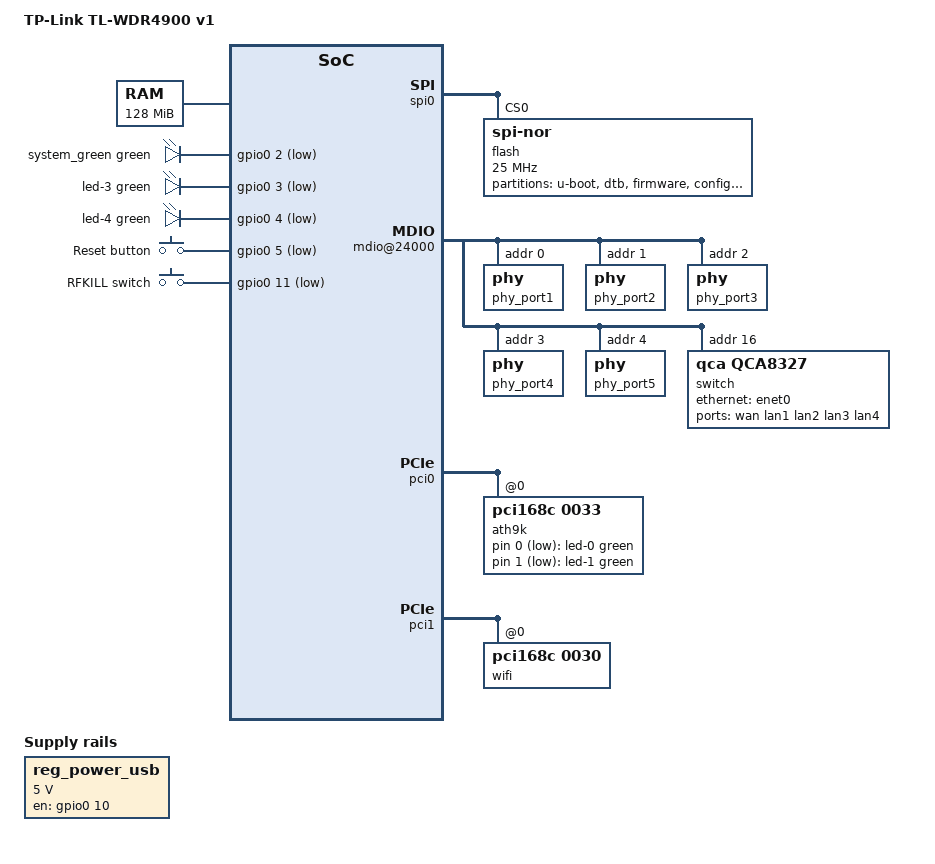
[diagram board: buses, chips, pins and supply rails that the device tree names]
/*
 * TP-Link TL-WDR4900 v1 Device Tree Source
 *
 * Copyright 2013 Gabor Juhos <juhosg@openwrt.org>
 *
 * This program is free software; you can redistribute  it and/or modify it
 * under  the terms of  the GNU General  Public License as published by the
 * Free Software Foundation;  either version 2 of the  License, or (at your
 * option) any later version.
 */

#include <dt-bindings/leds/common.h>
#include <dt-bindings/input/input.h>
#include <dt-bindings/gpio/gpio.h>

/include/ "fsl/p1010si-pre.dtsi"

/ {
	model = "TP-Link TL-WDR4900 v1";
	compatible = "tplink,tl-wdr4900-v1";

	chosen {
		bootargs = "console=ttyS0,115200";
/*
		stdout-path = "/soc@ffe00000/serial@4500";
*/
	};

	aliases {
		spi0 = &spi0;
		led-boot = &system_green;
		led-failsafe = &system_green;
		led-running = &system_green;
		led-upgrade = &system_green;
		label-mac-device = &enet0;
	};

	memory {
		device_type = "memory";
	};

	soc: soc@ffe00000 {
		ranges = <0x0 0x0 0xffe00000 0x100000>;

		spi0: spi@7000 {
			flash@0 {
				compatible = "jedec,spi-nor";
				reg = <0>;
				spi-max-frequency = <25000000>;

				partitions {
					compatible = "fixed-partitions";
					#address-cells = <1>;
					#size-cells = <1>;

					uboot: partition@0 {
						reg = <0x0 0x0050000>;
						label = "u-boot";
						read-only;

						nvmem-layout {
							compatible = "fixed-layout";
							#address-cells = <1>;
							#size-cells = <1>;

							macaddr_uboot_4fc00: macaddr@4fc00 {
								compatible = "mac-base";
								reg = <0x4fc00 0x6>;
								#nvmem-cell-cells = <1>;
							};
						};
					};

					partition@50000 {
						reg = <0x00050000 0x00010000>;
						label = "dtb";
						read-only;
					};

					partition@60000 {
						compatible = "tplink,firmware";
						reg = <0x00060000 0x00f80000>;
						label = "firmware";
					};

					partition@fe0000 {
						reg = <0x00fe0000 0x00010000>;
						label = "config";
						read-only;
					};

					partition@ff0000 {
						reg = <0x00ff0000 0x00010000>;
						label = "caldata";
						read-only;

						nvmem-layout {
							compatible = "fixed-layout";
							#address-cells = <1>;
							#size-cells = <1>;

							cal_caldata_1000: calibration@1000 {
								reg = <0x1000 0x440>;
							};

							cal_caldata_5000: calibration@5000 {
								reg = <0x5000 0x440>;
							};
						};
					};
				};
			};
		};

		gpio0: gpio-controller@fc00 {
		};

		usb@22000 {
			phy_type = "utmi";
			dr_mode = "host";

			vbus-supply = <&reg_power_usb>;

			port@1 {
				#address-cells = <1>;
				#size-cells = <0>;
				reg = <1>;
				#trigger-source-cells = <0>;

				hub_port1: port@1 {
					reg = <1>;
					#trigger-source-cells = <0>;
				};

				hub_port2: port@2 {
					reg = <2>;
					#trigger-source-cells = <0>;
				};
			};
		};

		mdio@24000 {

			phy_port1: phy@0 {
				reg = <0>;
			};

			phy_port2: phy@1 {
				reg = <1>;
			};

			phy_port3: phy@2 {
				reg = <2>;
			};

			phy_port4: phy@3 {
				reg = <3>;
			};

			phy_port5: phy@4 {
				reg = <4>;
			};

			switch@10 {
				compatible = "qca,qca8327";
				reg = <0x10>;

				ports {
					#address-cells = <1>;
					#size-cells = <0>;

					port@0 {
						reg = <0>;
						ethernet = <&enet0>;
						phy-mode = "rgmii-id";

						fixed-link {
							speed = <1000>;
							full-duplex;
						};
					};

					port@1 {
						reg = <1>;
						label = "wan";
						phy-handle = <&phy_port1>;

						nvmem-cells = <&macaddr_uboot_4fc00 1>;
						nvmem-cell-names = "mac-address";

						leds {
							#address-cells = <1>;
							#size-cells = <0>;

							led@0 {
								reg = <0>;
								color = <LED_COLOR_ID_GREEN>;
								function = LED_FUNCTION_WAN;
								default-state = "keep";
							};
						};
					};

					port@2 {
						reg = <2>;
						label = "lan1";
						phy-handle = <&phy_port2>;

						leds {
							#address-cells = <1>;
							#size-cells = <0>;

							led@0 {
								reg = <0>;
								color = <LED_COLOR_ID_GREEN>;
								function = LED_FUNCTION_LAN;
								default-state = "keep";
							};
						};
					};

					port@3 {
						reg = <3>;
						label = "lan2";
						phy-handle = <&phy_port3>;

						leds {
							#address-cells = <1>;
							#size-cells = <0>;

							led@0 {
								reg = <0>;
								color = <LED_COLOR_ID_GREEN>;
								function = LED_FUNCTION_LAN;
								default-state = "keep";
							};
						};
					};

					port@4 {
						reg = <4>;
						label = "lan3";
						phy-handle = <&phy_port4>;

						leds {
							#address-cells = <1>;
							#size-cells = <0>;

							led@0 {
								reg = <0>;
								color = <LED_COLOR_ID_GREEN>;
								function = LED_FUNCTION_LAN;
								default-state = "keep";
							};
						};
					};

					port@5 {
						reg = <5>;
						label = "lan4";
						phy-handle = <&phy_port5>;

						leds {
							#address-cells = <1>;
							#size-cells = <0>;

							led@0 {
								reg = <0>;
								color = <LED_COLOR_ID_GREEN>;
								function = LED_FUNCTION_LAN;
								default-state = "keep";
							};
						};
					};
				};
			};
		};

		mdio@25000 {
			status = "disabled";
		};

		mdio@26000 {
			status = "disabled";
		};

		enet0: ethernet@b0000 {
			phy-connection-type = "rgmii-id";
			nvmem-cells = <&macaddr_uboot_4fc00 0>;
			nvmem-cell-names = "mac-address";

			fixed-link {
				speed = <1000>;
				full-duplex;
			};
		};

		enet1: ethernet@b1000 {
			status = "disabled";
		};

		enet2: ethernet@b2000 {
			status = "disabled";
		};

		sdhc@2e000 {
			status = "disabled";
		};

		serial1: serial@4600 {
			status = "disabled";
		};

		can0: can@1c000 {
			status = "disabled";
		};

		can1: can@1d000 {
			status = "disabled";
		};

		ptp_clock@b0e00 {
			compatible = "fsl,etsec-ptp";
			reg = <0xb0e00 0xb0>;
			interrupts = <68 2 0 0 69 2 0 0 70 2 0 0>;
			fsl,cksel       = <1>;
			fsl,tclk-period	= <5>;
			fsl,tmr-prsc	= <2>;
			fsl,tmr-add	= <0xcccccccd>;
			fsl,tmr-fiper1	= <0x3b9ac9fb>; /* 1PPS */
			fsl,tmr-fiper2	= <0x00018696>;
			fsl,max-adj	= <249999999>;
		};
	};

	pci0: pcie@ffe09000 {
		reg = <0 0xffe09000 0 0x1000>;
		ranges = <0x2000000 0x0 0xa0000000 0 0xa0000000 0x0 0x20000000>,
			  <0x1000000 0x0 0x00000000 0 0xffc10000 0x0 0x10000>;
		pcie@0 {
			ranges = <0x2000000 0x0 0xa0000000
				  0x2000000 0x0 0xa0000000
				  0x0 0x20000000>,
				 <0x1000000 0x0 0x0
				  0x1000000 0x0 0x0
				  0x0 0x100000>;

			ath9k: wifi@0,0 {
				compatible = "pci168c,0033";
				reg = <0x0000 0 0 0 0>;
				#gpio-cells = <2>;
				gpio-controller;
				nvmem-cells = <&cal_caldata_1000>, <&macaddr_uboot_4fc00 0>;
				nvmem-cell-names = "calibration", "mac-address";
			};
		};
	};

	pci1: pcie@ffe0a000 {
		reg = <0 0xffe0a000 0 0x1000>;
		ranges = <0x2000000 0x0 0x80000000 0 0x80000000 0x0 0x20000000>,
			  <0x1000000 0x0 0x00000000 0 0xffc00000 0x0 0x10000>;
		pcie@0 {
			ranges = <0x2000000 0x0 0x80000000
				  0x2000000 0x0 0x80000000
				  0x0 0x20000000>,
				 <0x1000000 0x0 0x0
				  0x1000000 0x0 0x0
				  0x0 0x100000>;

			wifi@0,0 {
				compatible = "pci168c,0030";
				reg = <0x0000 0 0 0 0>;
				/*
				* The PCI header of the AR9381 chip is not programmed
				* correctly by the bootloader and the device uses wrong
				* data due to that. Replace the broken values with the
				* correct ones.
				*/
				device-id = <0x0030>;
				class-code = <0x028000>;
				nvmem-cells = <&cal_caldata_5000>, <&macaddr_uboot_4fc00 (-1)>;
				nvmem-cell-names = "calibration", "mac-address";

				led {
					led-sources = <0>;
					led-active-low;
				};
			};
		};
	};

	ifc: ifc@ffe1e000 {
		reg = <0x0 0xffe1e000 0 0x2000>;

		status = "disabled";
	};

	leds {
		compatible = "gpio-leds";

		led-0 {
			gpios = <&ath9k 0 GPIO_ACTIVE_LOW>;
			color = <LED_COLOR_ID_GREEN>;
			function = LED_FUNCTION_WLAN_5GHZ;
			linux,default-trigger = "phy0tpt";
		};

		led-1 {
			gpios = <&ath9k 1 GPIO_ACTIVE_LOW>;
			color = <LED_COLOR_ID_GREEN>;
			function = LED_FUNCTION_WPS;
		};

		system_green: led-2 {
			gpios = <&gpio0 2 GPIO_ACTIVE_LOW>;
			color = <LED_COLOR_ID_GREEN>;
			function = LED_FUNCTION_STATUS;
		};

		led-3 {
			gpios = <&gpio0 3 GPIO_ACTIVE_LOW>;
			color = <LED_COLOR_ID_GREEN>;
			function = LED_FUNCTION_USB;
			function-enumerator = <1>;
			linux,default-trigger = "usbport";
			trigger-sources = <&hub_port1>;
		};

		led-4 {
			gpios = <&gpio0 4 GPIO_ACTIVE_LOW>;
			color = <LED_COLOR_ID_GREEN>;
			function = LED_FUNCTION_USB;
			function-enumerator = <2>;
			linux,default-trigger = "usbport";
			trigger-sources = <&hub_port2>;
		};
	};

	reg_power_usb: regulator {
		compatible = "regulator-fixed";
		regulator-name = "power_usb";
		regulator-min-microvolt = <5000000>;
		regulator-max-microvolt = <5000000>;
		gpios = <&gpio0 10 GPIO_ACTIVE_HIGH>;
		enable-active-high;
		regulator-boot-on;
	};

	buttons {
		compatible = "gpio-keys";

		reset {
			label = "Reset button";
			gpios = <&gpio0 5 GPIO_ACTIVE_LOW>;
			linux,code = <KEY_RESTART>;
		};

		rfkill {
			label = "RFKILL switch";
			gpios = <&gpio0 11 GPIO_ACTIVE_LOW>;
			linux,code = <KEY_RFKILL>;
			linux,input-type = <EV_SW>;
			debounce-interval = <60>;
		};
	};
};

/include/ "fsl/p1010si-post.dtsi"

/ {
	cpus {
		PowerPC,P1010@0 {
			bus-frequency = <399999996>;
			timebase-frequency = <49999999>;
			clock-frequency = <799999992>;
		};
	};

	memory {
		reg = <0x0 0x0 0x0 0x8000000>;
	};

	soc@ffe00000 {
		bus-frequency = <399999996>;

		serial@4600 {
			clock-frequency = <399999996>;
		};

		serial@4500 {
			clock-frequency = <399999996>;
		};

		pic@40000 {
			clock-frequency = <399999996>;
		};
	};
};

/*
 * The TL-WDR4900 v1 uses the NXP (Freescale) P1014 SoC which is closely
 * related to the P1010.
 *
 * NXP QP1010FS.pdf "QorIQ P1010 and P1014 Communications Processors"
 * datasheet states that the P1014 does not include the accelerated crypto
 * module (CAAM/SEC4) which is present in the P1010.
 *
 * NXP Appliation Note AN4938 Rev. 2 implies that some P1014 may contain the
 * SEC4 module, but states that SoCs with System Version Register values
 * 0x80F10110 or 0x80F10120 do not have the security feature.
 *
 * All v1.3 TL-WDR4900 tested have SVR == 0x80F10110 which AN4938 describes
 * as: core rev 1.0, "P1014 (without security)".
 *
 * The SVR value is reported by uboot on the serial console.
 */

/ {
	soc: soc@ffe00000 {
		/delete-node/ crypto@30000; /* Pulled in by p1010si-post */
	};
};

/*
 * For the OpenWrt 22.03 release, since Linux 5.10.138 now uses
 * aliases to determine PCI domain numbers, drop aliases so as not to
 * change the sysfs path of our wireless netdevs.
 */

/ {
	aliases {
		/delete-property/ pci0;
		/delete-property/ pci1;
	};
};
